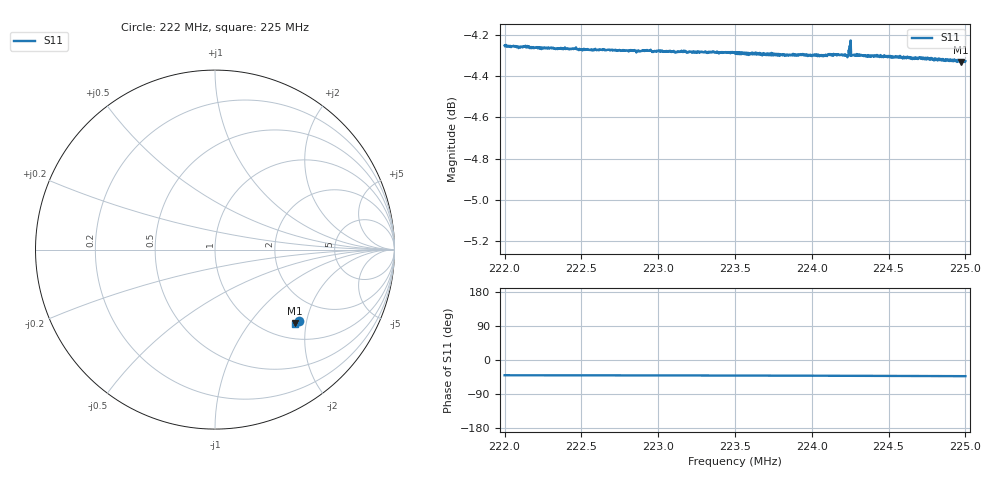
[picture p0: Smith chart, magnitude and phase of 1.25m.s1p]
! Calibrated averaged scanner-service zoom
# Hz S RI R 50
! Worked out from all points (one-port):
!   1001 points, 222 MHz to 225 MHz, reference 50 ohm
!   lowest |S11| = -4.3 dB at 224.97 MHz (marker M1), VSWR 4.09, Z = 66.4 - j86.6 ohm
!   |S11| at or under -10 dB: nowhere
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2.22e8  0.468 -0.396
2.22135e8  0.4676 -0.3962
2.2218e8  0.4669 -0.3961
2.22375e8  0.466 -0.3967
2.2275e8  0.4642 -0.3979
2.22873e8  0.4638 -0.3982
2.22936e8  0.4634 -0.3985
2.23017e8  0.4631 -0.3986
2.23125e8  0.4626 -0.399
2.23161e8  0.4621 -0.3993
2.23275e8  0.4619 -0.3998
2.235e8  0.4605 -0.4012
2.23647e8  0.4597 -0.4017
2.23692e8  0.4589 -0.4017
2.23875e8  0.4577 -0.4026
2.23929e8  0.4578 -0.4033
2.24061e8  0.4562 -0.404
2.24121e8  0.4562 -0.405
2.24217e8  0.4554 -0.4058
2.24235e8  0.4535 -0.4071
2.24238e8  0.4547 -0.4058
2.2425e8  0.4548 -0.4059
2.24268e8  0.4547 -0.4062
2.24271e8  0.4549 -0.4062
2.24625e8  0.4515 -0.4089
2.24727e8  0.4504 -0.4097
2.2497e8  0.4469 -0.4112
2.25e8  0.4468 -0.4118
